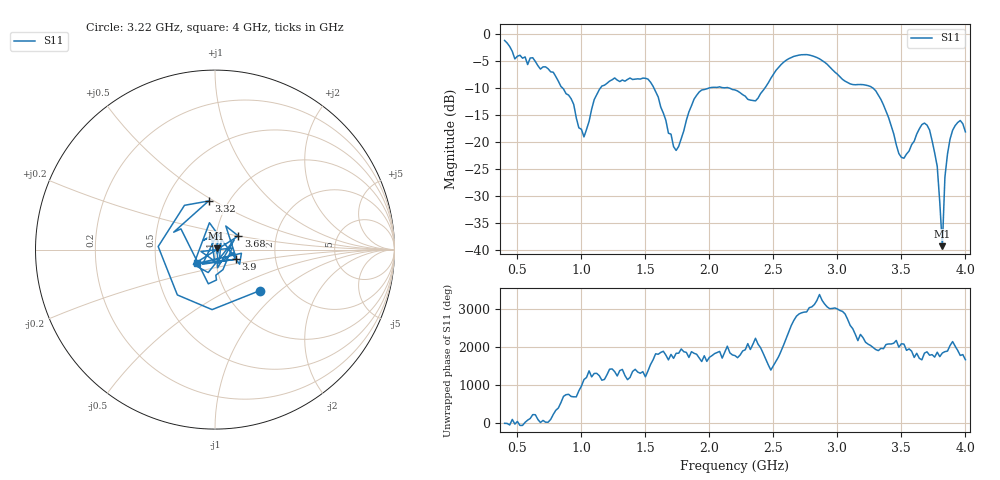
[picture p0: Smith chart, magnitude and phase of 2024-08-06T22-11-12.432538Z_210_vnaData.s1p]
!Created with skrf (http://scikit-rf.org).
# Hz S RI R 50.0
!freq ReS11 ImS11
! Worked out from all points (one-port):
!   181 points, 400 MHz to 4 GHz, reference 50 ohm
!   lowest |S11| = -39.2 dB at 3.82 GHz (marker M1), VSWR 1.02, Z = 50.9 + j0.629 ohm
!   |S11| at or under -10 dB: 855.5 MHz to 1.147 GHz (291.2 MHz wide, 29.1 % of centre); 1.568 GHz to 1.989 GHz (421.6 MHz wide, 23.7 % of centre); 3.281 GHz to end of sweep (the widest 3 of 4)
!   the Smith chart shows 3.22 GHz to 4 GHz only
!   S11 on the Smith chart (normalised r, x): 3.22 GHz: 1.44, -0.74; 3.32 GHz: 0.81, +0.47; 3.68 GHz: 1.28, +0.20; 3.9 GHz: 1.26, -0.14; 4 GHz: 0.81, -0.13
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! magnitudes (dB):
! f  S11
! 400 MHz  -1.1
! 480 MHz  -4.6
! 620 MHz  -4.3
! 860 MHz  -10.1
! 1.02 GHz  -19.0
! 1.14 GHz  -10.2
! 1.3 GHz  -8.7
! 1.52 GHz  -8.3
! 1.72 GHz  -20.8
! 1.76 GHz  -20.7
! 1.92 GHz  -10.7
! 2.2 GHz  -10.3
! 2.36 GHz  -12.3
! 2.66 GHz  -4.1
! 2.86 GHz  -4.5
! 3.1 GHz  -9.2
! 3.22 GHz  -9.4
! 3.32 GHz  -11.3
! 3.48 GHz  -22.1
! 3.56 GHz  -21.6
! 3.68 GHz  -16.4
! 3.72 GHz  -17.7
! 3.78 GHz  -24.4
! 3.82 GHz  -39.2
! 3.84 GHz  -26.4
! 3.9 GHz  -17.8
! 3.96 GHz  -15.9
! 4 GHz  -18.0
